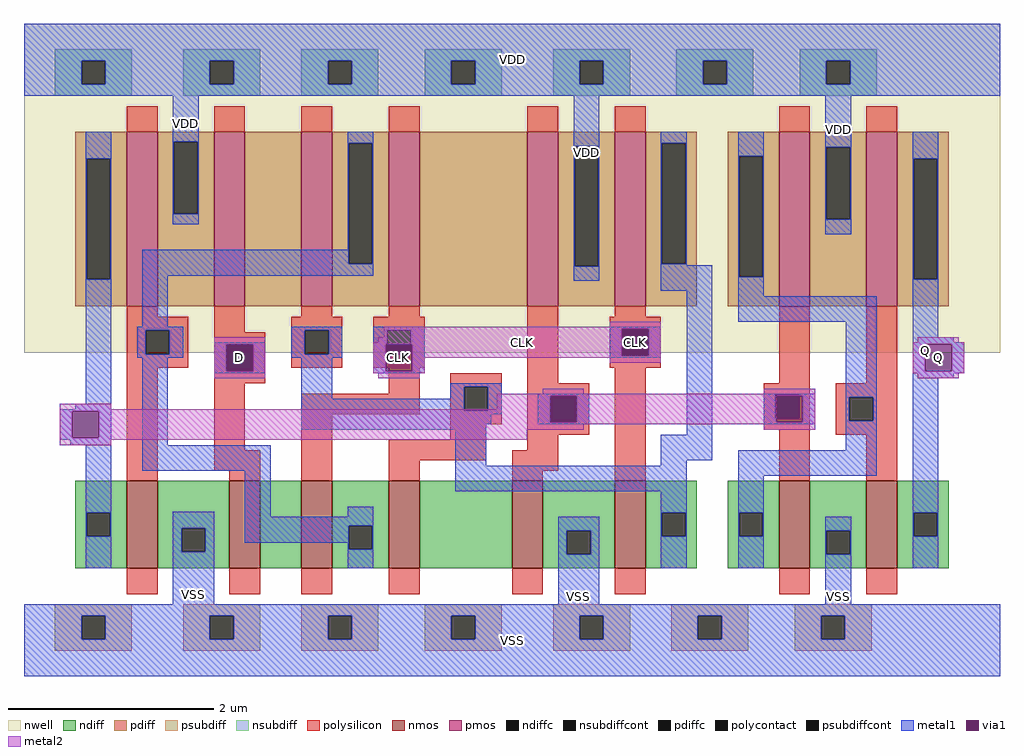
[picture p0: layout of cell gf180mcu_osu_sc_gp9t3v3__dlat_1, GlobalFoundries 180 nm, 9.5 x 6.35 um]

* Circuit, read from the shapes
.subckt gf180mcu_osu_sc_gp9t3v3__dlat_1 D Q CLK VDD VSS
XM1 VSS n1 n2 VSS nfet_03v3 w=0.85u l=0.3u
XM2 n3 D VSS VSS nfet_03v3 w=0.85u l=0.3u
XM3 n1 CLK n3 VSS nfet_03v3 w=0.85u l=0.3u
XM4 n4 n5 n1 VSS nfet_03v3 w=0.85u l=0.3u
XM5 VSS n2 n4 VSS nfet_03v3 w=0.85u l=0.3u
XM6 n5 CLK VSS VSS nfet_03v3 w=0.85u l=0.3u
XM7 VSS n2 n6 VSS nfet_03v3 w=0.85u l=0.3u
XM8 Q n6 VSS VSS nfet_03v3 w=0.85u l=0.3u
XM9 VDD n1 n2 VDD pfet_03v3 w=1.7u l=0.3u
XM10 n7 D VDD VDD pfet_03v3 w=1.7u l=0.3u
XM11 n1 n5 n7 VDD pfet_03v3 w=1.7u l=0.3u
XM12 n8 CLK n1 VDD pfet_03v3 w=1.7u l=0.3u
XM13 VDD n2 n8 VDD pfet_03v3 w=1.7u l=0.3u
XM14 n5 CLK VDD VDD pfet_03v3 w=1.7u l=0.3u
XM15 VDD n2 n6 VDD pfet_03v3 w=1.7u l=0.3u
XM16 Q n6 VDD VDD pfet_03v3 w=1.7u l=0.3u
.ends

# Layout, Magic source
magic
tech gf180mcuA
magscale 1 10
<< nwell >>
rect 0 630 1900 1270
<< nmos >>
rect 200 210 260 380
rect 400 210 460 380
rect 540 210 600 380
rect 710 210 770 380
rect 950 210 1010 380
rect 1150 210 1210 380
rect 1470 210 1530 380
rect 1640 210 1700 380
<< pmos >>
rect 200 720 260 1060
rect 370 720 430 1060
rect 540 720 600 1060
rect 710 720 770 1060
rect 980 720 1040 1060
rect 1150 720 1210 1060
rect 1470 720 1530 1060
rect 1640 720 1700 1060
<< ndiff >>
rect 100 318 200 380
rect 100 272 122 318
rect 168 272 200 318
rect 100 210 200 272
rect 260 288 400 380
rect 260 242 307 288
rect 353 242 400 288
rect 260 210 400 242
rect 460 210 540 380
rect 600 293 710 380
rect 600 247 632 293
rect 678 247 710 293
rect 600 210 710 247
rect 770 210 950 380
rect 1010 283 1150 380
rect 1010 237 1057 283
rect 1103 237 1150 283
rect 1010 210 1150 237
rect 1210 318 1310 380
rect 1210 272 1242 318
rect 1288 272 1310 318
rect 1210 210 1310 272
rect 1370 318 1470 380
rect 1370 272 1392 318
rect 1438 272 1470 318
rect 1370 210 1470 272
rect 1530 283 1640 380
rect 1530 237 1562 283
rect 1608 237 1640 283
rect 1530 210 1640 237
rect 1700 318 1800 380
rect 1700 272 1732 318
rect 1778 272 1800 318
rect 1700 210 1800 272
<< pdiff >>
rect 100 1007 200 1060
rect 100 773 122 1007
rect 168 773 200 1007
rect 100 720 200 773
rect 260 1040 370 1060
rect 260 900 292 1040
rect 338 900 370 1040
rect 260 720 370 900
rect 430 720 540 1060
rect 600 1037 710 1060
rect 600 803 632 1037
rect 678 803 710 1037
rect 600 720 710 803
rect 770 720 980 1060
rect 1040 1032 1150 1060
rect 1040 798 1072 1032
rect 1118 798 1150 1032
rect 1040 720 1150 798
rect 1210 1037 1310 1060
rect 1210 803 1242 1037
rect 1288 803 1310 1037
rect 1210 720 1310 803
rect 1370 1012 1470 1060
rect 1370 778 1392 1012
rect 1438 778 1470 1012
rect 1370 720 1470 778
rect 1530 1030 1640 1060
rect 1530 890 1562 1030
rect 1608 890 1640 1030
rect 1530 720 1640 890
rect 1700 1007 1800 1060
rect 1700 773 1732 1007
rect 1778 773 1800 1007
rect 1700 720 1800 773
<< ndiffc >>
rect 122 272 168 318
rect 307 242 353 288
rect 632 247 678 293
rect 1057 237 1103 283
rect 1242 272 1288 318
rect 1392 272 1438 318
rect 1562 237 1608 283
rect 1732 272 1778 318
<< pdiffc >>
rect 122 773 168 1007
rect 292 900 338 1040
rect 632 803 678 1037
rect 1072 798 1118 1032
rect 1242 803 1288 1037
rect 1392 778 1438 1012
rect 1562 890 1608 1030
rect 1732 773 1778 1007
<< psubdiff >>
rect 60 118 210 140
rect 60 72 112 118
rect 158 72 210 118
rect 60 50 210 72
rect 310 118 460 140
rect 310 72 362 118
rect 408 72 460 118
rect 310 50 460 72
rect 540 118 690 140
rect 540 72 592 118
rect 638 72 690 118
rect 540 50 690 72
rect 780 118 930 140
rect 780 72 832 118
rect 878 72 930 118
rect 780 50 930 72
rect 1030 118 1180 140
rect 1030 72 1082 118
rect 1128 72 1180 118
rect 1030 50 1180 72
rect 1260 118 1410 140
rect 1260 72 1312 118
rect 1358 72 1410 118
rect 1260 50 1410 72
rect 1500 118 1650 140
rect 1500 72 1552 118
rect 1598 72 1650 118
rect 1500 50 1650 72
<< nsubdiff >>
rect 60 1198 210 1220
rect 60 1152 112 1198
rect 158 1152 210 1198
rect 60 1130 210 1152
rect 310 1198 460 1220
rect 310 1152 362 1198
rect 408 1152 460 1198
rect 310 1130 460 1152
rect 540 1198 690 1220
rect 540 1152 592 1198
rect 638 1152 690 1198
rect 540 1130 690 1152
rect 780 1198 930 1220
rect 780 1152 832 1198
rect 878 1152 930 1198
rect 780 1130 930 1152
rect 1030 1198 1180 1220
rect 1030 1152 1082 1198
rect 1128 1152 1180 1198
rect 1030 1130 1180 1152
rect 1270 1198 1420 1220
rect 1270 1152 1322 1198
rect 1368 1152 1420 1198
rect 1270 1130 1420 1152
rect 1510 1198 1660 1220
rect 1510 1152 1562 1198
rect 1608 1152 1660 1198
rect 1510 1130 1660 1152
<< psubdiffcont >>
rect 112 72 158 118
rect 362 72 408 118
rect 592 72 638 118
rect 832 72 878 118
rect 1082 72 1128 118
rect 1312 72 1358 118
rect 1552 72 1598 118
<< nsubdiffcont >>
rect 112 1152 158 1198
rect 362 1152 408 1198
rect 592 1152 638 1198
rect 832 1152 878 1198
rect 1082 1152 1128 1198
rect 1322 1152 1368 1198
rect 1562 1152 1608 1198
<< polysilicon >>
rect 200 1060 260 1110
rect 370 1060 430 1110
rect 540 1060 600 1110
rect 710 1060 770 1110
rect 980 1060 1040 1110
rect 1150 1060 1210 1110
rect 1470 1060 1530 1110
rect 1640 1060 1700 1110
rect 200 700 260 720
rect 200 673 320 700
rect 200 627 237 673
rect 283 627 320 673
rect 200 600 320 627
rect 370 670 430 720
rect 540 700 600 720
rect 710 700 770 720
rect 520 673 620 700
rect 370 643 470 670
rect 200 380 260 600
rect 370 597 397 643
rect 443 597 470 643
rect 520 627 547 673
rect 593 627 620 673
rect 520 600 620 627
rect 680 673 780 700
rect 680 627 707 673
rect 753 627 780 673
rect 680 600 780 627
rect 370 570 470 597
rect 370 440 430 570
rect 710 550 770 600
rect 540 510 770 550
rect 830 563 930 590
rect 830 517 857 563
rect 903 517 930 563
rect 370 400 460 440
rect 400 380 460 400
rect 540 380 600 510
rect 830 490 930 517
rect 980 570 1040 720
rect 1150 700 1210 720
rect 1140 673 1240 700
rect 1140 627 1167 673
rect 1213 627 1240 673
rect 1140 600 1240 627
rect 980 543 1100 570
rect 980 497 1027 543
rect 1073 497 1100 543
rect 830 460 900 490
rect 710 420 900 460
rect 980 470 1100 497
rect 980 440 1040 470
rect 710 380 770 420
rect 950 400 1040 440
rect 950 380 1010 400
rect 1150 380 1210 600
rect 1470 570 1530 720
rect 1640 570 1700 720
rect 1440 548 1530 570
rect 1440 502 1462 548
rect 1508 502 1530 548
rect 1440 480 1530 502
rect 1470 380 1530 480
rect 1580 543 1700 570
rect 1580 497 1607 543
rect 1653 497 1700 543
rect 1580 470 1700 497
rect 1640 380 1700 470
rect 200 160 260 210
rect 400 160 460 210
rect 540 160 600 210
rect 710 160 770 210
rect 950 160 1010 210
rect 1150 160 1210 210
rect 1470 160 1530 210
rect 1640 160 1700 210
<< polycontact >>
rect 237 627 283 673
rect 397 597 443 643
rect 547 627 593 673
rect 707 627 753 673
rect 857 517 903 563
rect 1167 627 1213 673
rect 1027 497 1073 543
rect 1462 502 1508 548
rect 1607 497 1653 543
<< metal1 >>
rect 0 1198 1900 1270
rect 0 1152 112 1198
rect 158 1152 362 1198
rect 408 1152 592 1198
rect 638 1152 832 1198
rect 878 1152 1082 1198
rect 1128 1152 1322 1198
rect 1368 1152 1562 1198
rect 1608 1152 1900 1198
rect 0 1130 1900 1152
rect 120 1007 170 1060
rect 120 773 122 1007
rect 168 773 170 1007
rect 290 1040 340 1130
rect 290 900 292 1040
rect 338 900 340 1040
rect 290 880 340 900
rect 630 1037 680 1060
rect 630 830 632 1037
rect 120 530 170 773
rect 230 803 632 830
rect 678 803 680 1037
rect 230 780 680 803
rect 1070 1032 1120 1130
rect 1070 798 1072 1032
rect 1118 798 1120 1032
rect 230 680 280 780
rect 1070 770 1120 798
rect 1240 1037 1290 1060
rect 1240 803 1242 1037
rect 1288 803 1290 1037
rect 1240 800 1290 803
rect 1390 1012 1440 1060
rect 1240 750 1340 800
rect 220 673 310 680
rect 220 627 237 673
rect 283 627 310 673
rect 520 673 620 680
rect 220 620 310 627
rect 370 646 470 650
rect 100 520 170 530
rect 70 516 170 520
rect 70 464 94 516
rect 146 464 170 516
rect 70 460 170 464
rect 90 450 170 460
rect 120 318 170 450
rect 230 450 280 620
rect 370 594 394 646
rect 446 594 470 646
rect 520 627 547 673
rect 593 627 620 673
rect 520 620 620 627
rect 680 673 780 680
rect 680 646 707 673
rect 753 646 780 673
rect 370 590 470 594
rect 540 540 600 620
rect 680 594 704 646
rect 756 594 780 646
rect 1140 676 1240 680
rect 1140 624 1164 676
rect 1216 624 1240 676
rect 1140 620 1240 624
rect 680 590 780 594
rect 830 563 930 570
rect 830 540 857 563
rect 540 517 857 540
rect 903 517 930 563
rect 540 510 930 517
rect 1000 546 1100 550
rect 540 490 910 510
rect 1000 494 1024 546
rect 1076 494 1100 546
rect 1000 490 1100 494
rect 540 480 900 490
rect 230 400 480 450
rect 120 272 122 318
rect 168 272 170 318
rect 120 210 170 272
rect 290 288 370 320
rect 290 242 307 288
rect 353 242 370 288
rect 430 310 480 400
rect 840 410 900 480
rect 1290 470 1340 750
rect 1390 778 1392 1012
rect 1438 778 1440 1012
rect 1560 1030 1610 1130
rect 1560 890 1562 1030
rect 1608 890 1610 1030
rect 1560 860 1610 890
rect 1730 1007 1780 1060
rect 1390 740 1440 778
rect 1730 773 1732 1007
rect 1778 773 1780 1007
rect 1390 690 1660 740
rect 1440 548 1540 550
rect 1440 502 1462 548
rect 1508 546 1540 548
rect 1440 494 1464 502
rect 1516 494 1540 546
rect 1440 490 1540 494
rect 1600 543 1660 690
rect 1600 497 1607 543
rect 1653 497 1660 543
rect 1240 420 1340 470
rect 1600 440 1660 497
rect 1240 410 1290 420
rect 840 360 1290 410
rect 630 310 680 330
rect 1240 318 1290 360
rect 430 293 680 310
rect 430 260 632 293
rect 290 140 370 242
rect 630 247 632 260
rect 678 247 680 293
rect 630 210 680 247
rect 1040 283 1120 310
rect 1040 237 1057 283
rect 1103 237 1120 283
rect 1040 140 1120 237
rect 1240 272 1242 318
rect 1288 272 1290 318
rect 1240 210 1290 272
rect 1390 390 1660 440
rect 1730 660 1780 773
rect 1730 650 1810 660
rect 1730 646 1830 650
rect 1730 594 1754 646
rect 1806 594 1830 646
rect 1730 590 1830 594
rect 1730 580 1810 590
rect 1390 318 1440 390
rect 1390 272 1392 318
rect 1438 272 1440 318
rect 1730 318 1780 580
rect 1390 210 1440 272
rect 1560 283 1610 310
rect 1560 237 1562 283
rect 1608 237 1610 283
rect 1560 140 1610 237
rect 1730 272 1732 318
rect 1778 272 1780 318
rect 1730 210 1780 272
rect 0 118 1900 140
rect 0 72 112 118
rect 158 72 362 118
rect 408 72 592 118
rect 638 72 832 118
rect 878 72 1082 118
rect 1128 72 1312 118
rect 1358 72 1552 118
rect 1598 72 1900 118
rect 0 0 1900 72
<< via1 >>
rect 94 464 146 516
rect 394 643 446 646
rect 394 597 397 643
rect 397 597 443 643
rect 443 597 446 643
rect 394 594 446 597
rect 704 627 707 646
rect 707 627 753 646
rect 753 627 756 646
rect 704 594 756 627
rect 1164 673 1216 676
rect 1164 627 1167 673
rect 1167 627 1213 673
rect 1213 627 1216 673
rect 1164 624 1216 627
rect 1024 543 1076 546
rect 1024 497 1027 543
rect 1027 497 1073 543
rect 1073 497 1076 543
rect 1024 494 1076 497
rect 1464 502 1508 546
rect 1508 502 1516 546
rect 1464 494 1516 502
rect 1754 594 1806 646
<< metal2 >>
rect 1140 680 1240 690
rect 700 676 1240 680
rect 700 660 1164 676
rect 370 646 470 660
rect 690 650 1164 660
rect 370 594 394 646
rect 446 594 470 646
rect 370 580 470 594
rect 680 646 1164 650
rect 680 594 704 646
rect 756 624 1164 646
rect 1216 624 1240 676
rect 1740 650 1820 660
rect 756 620 1240 624
rect 756 594 780 620
rect 1140 610 1240 620
rect 1730 646 1830 650
rect 680 590 780 594
rect 1730 594 1754 646
rect 1806 594 1830 646
rect 1730 590 1830 594
rect 690 580 770 590
rect 1740 580 1820 590
rect 1010 550 1090 560
rect 1440 550 1540 560
rect 920 546 1540 550
rect 70 520 170 530
rect 920 520 1024 546
rect 70 516 1024 520
rect 70 464 94 516
rect 146 494 1024 516
rect 1076 494 1464 546
rect 1516 494 1540 546
rect 146 490 1540 494
rect 146 480 1090 490
rect 1440 480 1540 490
rect 146 464 980 480
rect 70 460 980 464
rect 70 450 170 460
<< labels >>
rlabel via1 s 394 594 446 646 4 D
port 1 nsew signal input
rlabel via1 s 1754 594 1806 646 4 Q
port 2 nsew signal output
rlabel via1 s 1164 624 1216 676 4 CLK
port 3 nsew clock input
rlabel metal1 s 290 880 340 1270 4 VDD
port 4 nsew power bidirectional abutment
rlabel metal1 s 290 0 370 320 4 VSS
port 5 nsew ground bidirectional abutment
rlabel metal1 s 1070 770 1120 1270 1 VDD
port 4 nsew power bidirectional abutment
rlabel metal1 s 1560 860 1610 1270 1 VDD
port 4 nsew power bidirectional abutment
rlabel metal1 s 0 1130 1900 1270 1 VDD
port 4 nsew power bidirectional abutment
rlabel metal1 s 1040 0 1120 310 1 VSS
port 5 nsew ground bidirectional abutment
rlabel metal1 s 1560 0 1610 310 1 VSS
port 5 nsew ground bidirectional abutment
rlabel metal1 s 0 0 1900 140 1 VSS
port 5 nsew ground bidirectional abutment
rlabel via1 s 704 594 756 646 1 CLK
port 3 nsew clock input
rlabel metal2 s 690 580 770 660 1 CLK
port 3 nsew clock input
rlabel metal2 s 680 590 780 650 1 CLK
port 3 nsew clock input
rlabel metal2 s 700 620 1240 680 1 CLK
port 3 nsew clock input
rlabel metal2 s 1140 610 1240 690 1 CLK
port 3 nsew clock input
rlabel metal1 s 680 590 780 680 1 CLK
port 3 nsew clock input
rlabel metal1 s 1140 620 1240 680 1 CLK
port 3 nsew clock input
rlabel metal2 s 370 580 470 660 1 D
port 1 nsew signal input
rlabel metal1 s 370 590 470 650 1 D
port 1 nsew signal input
rlabel metal2 s 1740 580 1820 660 1 Q
port 2 nsew signal output
rlabel metal2 s 1730 590 1830 650 1 Q
port 2 nsew signal output
rlabel metal1 s 1730 210 1780 1060 1 Q
port 2 nsew signal output
rlabel metal1 s 1730 580 1810 660 1 Q
port 2 nsew signal output
rlabel metal1 s 1730 590 1830 650 1 Q
port 2 nsew signal output
<< properties >>
string FIXED_BBOX 0 0 1900 1270
string GDS_END 266016
string GDS_FILE $PDKPATH/libs.ref/gf180mcu_osu_sc_gp9t3v3/gds/gf180mcu_osu_sc_gp9t3v3.gds
string GDS_START 252440
string LEFclass CORE
string LEFsite gf180mcu_osu_sc_gp9t3v3
string LEFsymmetry X Y
<< end >>
